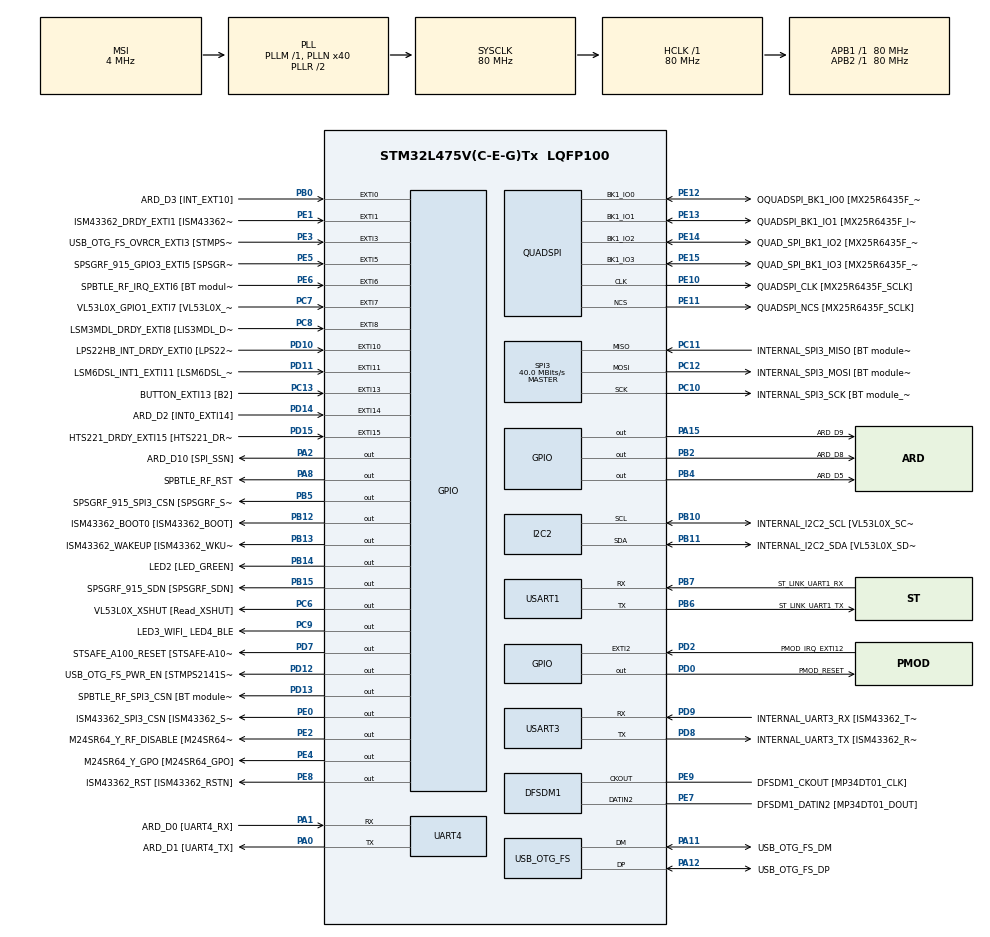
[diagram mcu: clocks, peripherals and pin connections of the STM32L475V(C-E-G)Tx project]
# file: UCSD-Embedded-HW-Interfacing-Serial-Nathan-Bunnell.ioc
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PD12.GPIO_Label=USB_OTG_FS_PWR_EN [STMPS2141STR_EN]
SPI3.Direction=SPI_DIRECTION_2LINES
SPI3.VirtualType=VM_MASTER
QUADSPI.ClockPrescaler=2
PB10.Mode=I2C
PC12.Signal=SPI3_MOSI
PB14.GPIO_Label=LED2 [LED_GREEN]
PC6.GPIO_Label=VL53L0X_XSHUT [Read_XSHUT]
PA6.GPIO_Label=ARD_D12 [SPI1_MISO]
PB6.GPIO_Label=ST_LINK_UART1_TX
PA15\ (JTDI).Signal=GPIO_Output
PC15-OSC32_OUT\ (PC15).Mode=LSE-External-Oscillator
PB13.Signal=GPIO_Output
PD6.GPIO_Label=PMOD_UART2_RX
PE6.GPIO_Label=SPBTLE_RF_IRQ_EXTI6 [BT module_SPI_IRQ]
RCC.SYSCLKSource=RCC_SYSCLKSOURCE_PLLCLK
PC14-OSC32_IN\ (PC14).Mode=LSE-External-Oscillator
SH.ADCx_IN16.0=ADC1_IN16
USART3.VirtualMode-Asynchronous=VM_ASYNC
PA14\ (JTCK-SWCLK).Signal=SYS_JTCK-SWCLK
PD4.Signal=USART2_RTS
RCC.APB2TimFreq_Value=80000000
PB6.Signal=USART1_TX
PC7.Signal=GPXTI7
PB6.Mode=Asynchronous
PC3.Signal=ADCx_IN4
PD0.Signal=GPIO_Output
PD8.Signal=USART3_TX
PE5.Signal=GPXTI5
PE1.Signal=GPXTI1
QUADSPI.FlashSize=23
NVIC.EXTI15_10_IRQn=true\:0\:0\:false\:false\:true\:true\:true
PB2.Signal=GPIO_Output
PD1.GPIO_Label=PMOD_SPI2_SCK
PB12.GPIO_Label=ISM43362_BOOT0 [ISM43362_BOOT]
PC4.GPIO_Label=ARD_A1 [ADC]
PE9.Signal=S_CKOUTDFSDM1
PB1.GPIO_Label=ARD_D6 [ADC1_IN6]
PE4.GPIO_Label=M24SR64_Y_GPO [M24SR64_GPO]
PA0.Mode=Asynchronous
PE2.Signal=GPIO_Output
PA8.Signal=GPIO_Output
PE13.Mode=Single Bank
Dma.UART4_RX.0.PeriphDataAlignment=DMA_PDATAALIGN_BYTE
NVIC.DMA2_Channel3_IRQn=true\:0\:0\:false\:false\:true\:false\:true
PE10.Signal=QUADSPI_CLK
PA0.Signal=UART4_TX
Mcu.Package=LQFP100
PB9.Signal=I2C1_SDA
PB1.Signal=ADCx_IN16
SPI3.Mode=SPI_MODE_MASTER
SH.ADCx_IN14.0=ADC1_IN14
PD12.Signal=GPIO_Output
PA10.Signal=USB_OTG_FS_ID
PE12.GPIO_Label=OQUADSPI_BK1_IO0 [MX25R6435F_IO0]
PC11.Mode=Full_Duplex_Master
SH.ADCx_IN9.0=ADC1_IN9
RCC.APB1TimFreq_Value=80000000
PA13\ (JTMS-SWDIO).Signal=SYS_JTMS-SWDIO
PE10.GPIO_Label=QUADSPI_CLK [MX25R6435F_SCLK]
PA4.GPIO_Label=ARD_D7
PD15.Signal=GPXTI15
NVIC.UART4_IRQn=true\:0\:0\:false\:false\:true\:true\:true
PE12.Mode=Single Bank
Dma.UART4_RX.0.MemInc=DMA_MINC_ENABLE
PD9.GPIO_Label=INTERNAL_UART3_RX [ISM43362_TX]
PA9.GPIO_Label=USB_OTG_FS_VBUS [STMPS2141STR_OUT]
PC13.Signal=GPXTI13
Dma.UART4_RX.0.Mode=DMA_NORMAL
PD3.Signal=USART2_CTS
PC6.Signal=GPIO_Output
PE10.Mode=Single Bank
PC2.Signal=ADCx_IN3
PB11.GPIO_Label=INTERNAL_I2C2_SDA [VL53L0X_SDA]
PD7.Signal=GPIO_Output
PD1.Signal=SPI2_SCK
PA11.GPIO_Label=USB_OTG_FS_DM
PC0.Signal=ADCx_IN1
PD10.Signal=GPXTI10
PB8.GPIO_Label=ARD_D15 [I2C1_SCL]
PA8.GPIO_Label=SPBTLE_RF_RST
PB11.Mode=I2C
Dma.UART4_TX.1.Instance=DMA2_Channel3
PE8.GPIO_Label=ISM43362_RST [ISM43362_RSTN]
PA9.Signal=USB_OTG_FS_VBUS
Dma.UART4_RX.0.PeriphInc=DMA_PINC_DISABLE
PE9.GPIO_Label=DFSDM1_CKOUT [MP34DT01_CLK]
PD8.Mode=Asynchronous
PB10.Signal=I2C2_SCL
PB14.Signal=GPIO_Output
PA5.Signal=SPI1_SCK
PC12.Mode=Full_Duplex_Master
PE1.GPIO_Label=ISM43362_DRDY_EXTI1 [ISM43362_DATARDY]
PA1.Mode=Asynchronous
PE14.Signal=QUADSPI_BK1_IO2
PE15.Signal=QUADSPI_BK1_IO3
PB15.GPIO_Label=SPSGRF_915_SDN [SPSGRF_SDN]
PE8.Signal=GPIO_Output
PA1.GPIO_Label=ARD_D0 [UART4_RX]
SH.ADCx_IN4.0=ADC1_IN4
QUADSPI.FifoThreshold=4
PC7.GPIO_Label=VL53L0X_GPIO1_EXTI7 [VL53L0X_GPIO1]
PA13\ (JTMS-SWDIO).Mode=Serial_Wire
PA4.Signal=ADCx_IN9
PB5.Signal=GPIO_Output
PE13.GPIO_Label=QUADSPI_BK1_IO1 [MX25R6435F_IO1]
PA5.GPIO_Label=ARD_D13 [SPI1_SCK]
PD11.Signal=GPXTI11
PE5.GPIO_Label=SPSGRF_915_GPIO3_EXTI5 [SPSGRF_GPIO_3]
PC12.GPIO_Label=INTERNAL_SPI3_MOSI [BT module_SPI_MOSI] [ISM43362_MOSI]
PA11.Signal=USB_OTG_FS_DM
ProjectManager.HeapSize=0x200
NVIC.PriorityGroup=NVIC_PRIORITYGROUP_4
Dma.UART4_RX.0.Instance=DMA2_Channel5
Dma.UART4_TX.1.MemDataAlignment=DMA_MDATAALIGN_BYTE
PE3.Signal=GPXTI3
PC3.GPIO_Label=ARD_A2 [ADC]
PB4\ (NJTRST).GPIO_Label=ARD_D5
PD2.Signal=GPXTI2
PB0.Signal=GPXTI0
PC1.Signal=ADCx_IN2
PD2.GPIO_Label=PMOD_IRQ_EXTI12
PE15.Mode=Single Bank
Dma.UART4_TX.1.Direction=DMA_MEMORY_TO_PERIPH
Mcu.Family=STM32L4
Dma.UART4_TX.1.PeriphDataAlignment=DMA_PDATAALIGN_BYTE
RCC.CortexFreq_Value=80000000
PE11.GPIO_Label=QUADSPI_NCS [MX25R6435F_SCLK]
SH.ADCx_IN2.0=ADC1_IN2
PC10.Signal=SPI3_SCK
I2C2.Timing=0x10909CEC
PA0.GPIO_Label=ARD_D1 [UART4_TX]
PC0.GPIO_Label=ARD_A5 [ADC]
PD0.GPIO_Label=PMOD_RESET
PA11.Mode=Device_Only
PB0.GPIO_Label=ARD_D3 [INT_EXT10]
PC13.GPIO_Label=BUTTON_EXTI13 [B2]
PB13.GPIO_Label=ISM43362_WAKEUP [ISM43362_WKUP]
PB11.Signal=I2C2_SDA
PB15.Signal=GPIO_Output
PD9.Mode=Asynchronous
ProjectManager.StackSize=0x400
PB3\ (JTDO-TRACESWO).Signal=SYS_JTDO-SWO
PD13.Signal=GPIO_Output
PA12.Signal=USB_OTG_FS_DP
PE11.Mode=Single Bank
PD11.GPIO_Label=LSM6DSL_INT1_EXTI11 [LSM6DSL_INT1]
RCC.HCLKFreq_Value=80000000
SH.ADCx_IN3.0=ADC1_IN3
PB5.PinState=GPIO_PIN_SET
RCC.AHBFreq_Value=80000000
NVIC.DMA2_Channel5_IRQn=true\:0\:0\:false\:false\:true\:false\:true
RCC.HSE_VALUE=8000000
Dma.UART4_TX.1.Mode=DMA_NORMAL
Dma.UART4_RX.0.MemDataAlignment=DMA_MDATAALIGN_BYTE
PE13.Signal=QUADSPI_BK1_IO1
PC11.GPIO_Label=INTERNAL_SPI3_MISO [BT module_SPI_MISO] [ISM43362_MISO]
PA10.GPIO_Label=USB_OTG_FS_ID
PB7.Signal=USART1_RX
PE4.Signal=GPIO_Output
QUADSPI.SampleShifting=QSPI_SAMPLE_SHIFTING_HALFCYCLE
PD7.GPIO_Label=STSAFE_A100_RESET [STSAFE-A100_RESET]
PB7.GPIO_Label=ST_LINK_UART1_RX
PD13.GPIO_Label=SPBTLE_RF_SPI3_CSN [BT module_SPI_CS]
PA6.Signal=SPI1_MISO
PD5.GPIO_Label=PMOD_UART2_TX
Dma.UART4_TX.1.MemInc=DMA_MINC_ENABLE
PA2.GPIO_Label=ARD_D10 [SPI_SSN]
Dma.UART4_TX.1.PeriphInc=DMA_PINC_DISABLE
USB_OTG_FS.VirtualMode=Device_Only
PE0.GPIO_Label=ISM43362_SPI3_CSN [ISM43362_SSN]
SH.ADCx_IN1.0=ADC1_IN1
PB5.GPIO_Label=SPSGRF_915_SPI3_CSN [SPSGRF_SPI_CS]
Dma.Request1=UART4_TX
PC5.Signal=ADCx_IN14
PD3.GPIO_Label=PMOD_UART2_CTS
PE7.Signal=S_DATAIN2DFSDM1
PD6.Signal=USART2_RX
Dma.Request0=UART4_RX
PE2.GPIO_Label=M24SR64_Y_RF_DISABLE [M24SR64_RFDIS]
PC2.GPIO_Label=ARD_A3 [ADC]
RCC.PLLSAI1N=24
PA3.Signal=S_TIM2_CH4
RCC.MSI_VALUE=4000000
PA14\ (JTCK-SWCLK).Mode=Serial_Wire
SH.ADCx_IN13.0=ADC1_IN13
PD15.GPIO_Label=HTS221_DRDY_EXTI15 [HTS221_DRDY]
PB9.GPIO_Label=ARD_D14 [I2C1_SDA]
PC10.GPIO_Label=INTERNAL_SPI3_SCK [BT module_SPI_SCLK] [ISM43362_SCK]
PC9.GPIO_Label=LED3_WIFI_ LED4_BLE
PC11.Signal=SPI3_MISO
PC8.Signal=GPXTI8
PC4.Signal=ADCx_IN13
PC10.Mode=Full_Duplex_Master
SH.S_DATAIN2DFSDM1.0=DFSDM1_DATIN2,PDM_SPI_Input_from_ch12_and_Internal_Clock
PE14.GPIO_Label=QUAD_SPI_BK1_IO2 [MX25R6435F_IO2]
PC15-OSC32_OUT\ (PC15).Signal=RCC_OSC32_OUT
PD9.Signal=USART3_RX
PD5.Signal=USART2_TX
PA14\ (JTCK-SWCLK).GPIO_Label=SYS_JTCK_SWCLK
PB3\ (JTDO-TRACESWO).GPIO_Label=SYS_JTD0_SWO
PA12.GPIO_Label=USB_OTG_FS_DP
PD8.GPIO_Label=INTERNAL_UART3_TX [ISM43362_RX]
PC8.GPIO_Label=LSM3MDL_DRDY_EXTI8 [LIS3MDL_DRDY]
USART1.VirtualMode-Asynchronous=VM_ASYNC
PE0.PinState=GPIO_PIN_SET
PE15.GPIO_Label=QUAD_SPI_BK1_IO3 [MX25R6435F_IO3]
Dma.UART4_RX.0.Direction=DMA_PERIPH_TO_MEMORY
ProjectManager.TargetToolchain=STM32CubeIDE
PB10.GPIO_Label=INTERNAL_I2C2_SCL [VL53L0X_SCL]
RCC.USBFreq_Value=48000000
PD10.GPIO_Label=LPS22HB_INT_DRDY_EXTI0 [LPS22HB_INT_DRDY] 
PE11.Signal=QUADSPI_NCS
PA1.Signal=UART4_RX
board=B-L475E-IOT01A1
RCC.VCOOutputFreq_Value=160000000
Dma.UART4_RX.0.Priority=DMA_PRIORITY_LOW
RCC.APB2Freq_Value=80000000
SPI3.CalculateBaudRate=40.0 MBits/s
PA13\ (JTMS-SWDIO).GPIO_Label=SYS_JTMS_SWDIO
PD4.GPIO_Label=PMOD_UART2_RTS
PE14.Mode=Single Bank
SH.S_CKOUTDFSDM1.0=DFSDM1_CKOUT,CKOUT
SH.S_CKOUTDFSDM1.1=DFSDM1_CKOUT,PDM_SPI_Input_from_ch12_and_Internal_Clock
RCC.ADCFreq_Value=48000000
PC1.GPIO_Label=ARD_A4 [ADC]
PD14.GPIO_Label=ARD_D2 [INT0_EXTI14]
PE6.Signal=GPXTI6
PA15\ (JTDI).GPIO_Label=ARD_D9
Mcu.Name=STM32L475V(C-E-G)Tx
PE0.Signal=GPIO_Output
PE7.GPIO_Label=DFSDM1_DATIN2 [MP34DT01_DOUT]
PE12.Signal=QUADSPI_BK1_IO0
PA2.Signal=GPIO_Output
PD14.Signal=GPXTI14
RCC.SYSCLKFreq_VALUE=80000000
PA7.GPIO_Label=ARD_D11 [SPI1_MOSI]
PA12.Mode=Device_Only
PC13.GPIO_ModeDefaultEXTI=GPIO_MODE_IT_FALLING
PC5.GPIO_Label=ARD_A0 [ADC]
PC14-OSC32_IN\ (PC14).Signal=RCC_OSC32_IN
PB7.Mode=Asynchronous
NVIC.EXTI9_5_IRQn=true\:0\:0\:false\:false\:true\:true\:true
PB2.GPIO_Label=ARD_D8
Dma.UART4_TX.1.Priority=DMA_PRIORITY_LOW
SH.S_TIM2_CH4.0=TIM2_CH4
RCC.HSI_VALUE=16000000
RCC.PLLN=40
PB8.Signal=I2C1_SCL
PE3.GPIO_Label=USB_OTG_FS_OVRCR_EXTI3 [STMPS2141STR_FAULT]
PC9.Signal=GPIO_Output
PD13.PinState=GPIO_PIN_SET
RCC.APB1Freq_Value=80000000
PB12.Signal=GPIO_Output
PA3.GPIO_Label=ARD_D4
PA7.Signal=SPI1_MOSI
PB4\ (NJTRST).Signal=GPIO_Output

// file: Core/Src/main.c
/* USER CODE BEGIN Header */
/**
  ******************************************************************************
  * @file           : main.c
  * @brief          : Main program body
  ******************************************************************************
  * @attention
  *
  * <h2><center>&copy; Copyright (c) 2021 STMicroelectronics.
  * All rights reserved.</center></h2>
  *
  * This software component is licensed by ST under BSD 3-Clause license,
  * the "License"; You may not use this file except in compliance with the
  * License. You may obtain a copy of the License at:
  *                        opensource.org/licenses/BSD-3-Clause
  *
  ******************************************************************************
  */
/* USER CODE END Header */
#include "main.h"

/* USER CODE BEGIN Includes */

#include <stdio.h>
#include <string.h>

/* USER CODE END Includes */

DFSDM_Channel_HandleTypeDef hdfsdm1_channel1;

I2C_HandleTypeDef hi2c2;

QSPI_HandleTypeDef hqspi;

SPI_HandleTypeDef hspi3;

UART_HandleTypeDef huart4;
UART_HandleTypeDef huart1;
UART_HandleTypeDef huart3;
DMA_HandleTypeDef hdma_uart4_rx;
DMA_HandleTypeDef hdma_uart4_tx;

PCD_HandleTypeDef hpcd_USB_OTG_FS;

void SystemClock_Config(void);
static void MX_GPIO_Init(void);
static void MX_DMA_Init(void);
static void MX_DFSDM1_Init(void);
static void MX_I2C2_Init(void);
static void MX_QUADSPI_Init(void);
static void MX_SPI3_Init(void);
static void MX_USART1_UART_Init(void);
static void MX_USART3_UART_Init(void);
static void MX_USB_OTG_FS_PCD_Init(void);
static void MX_UART4_Init(void);
/* USER CODE BEGIN PFP */

static void do_polling(void);
static void do_interrupt(void);
static void do_dma(void);

/* USER CODE END PFP */

/* USER CODE BEGIN 0 */

// Define data buffers and pad with known values
static char txBuffer[] = "abcdefghigjklmnopqrstuvwxyz\r\n";
static char rxBuffer[] = "abcdefghigjklmnopqrstuvwxyz\r\n";

// Define an interrupt-complete flag
static int do_interrupt_done = 0;

static void do_polling(void)
{
	// Get pointers to data buffers
	char* txBuffPtr = txBuffer;
	char* rxBuffPtr = rxBuffer;

	// Fill RX data buffer with known value ('?')
	for (int i = 0; i < sizeof(rxBuffer); i++)
	{
		rxBuffer[i] = '?';
	}

	// Do-loop with body of functional code
	do
	{
		// Pipe out a heartbeat indicator ('.')
		char ch = '.';
		HAL_UART_Transmit(&huart1, (uint8_t*) &ch, 1, 100);

		// Transceive a character from the data buffers
		//
		// WARNING: This functionality is predicated on
		// UART4 being hard-wired into loopback mode!
		HAL_UART_Transmit(&huart4, (uint8_t*) txBuffPtr, 1, 100);
		HAL_UART_Receive(&huart4, (uint8_t*) rxBuffPtr, 1, 100);

		// Error check comparison of buffer values
		if (*txBuffPtr != *rxBuffPtr)
		{
			char errorBuffer[100];
			snprintf(errorBuffer, sizeof(errorBuffer), "\r\nError: 0x%02x != 0x%02x\r\n", *txBuffPtr, *rxBuffPtr);
			HAL_UART_Transmit(&huart1, (uint8_t*) errorBuffer, sizeof(errorBuffer), 100);
		}

		// Increment pointers to both data buffers
		*txBuffPtr++;
		*rxBuffPtr++;

		HAL_Delay(100);

	// Maintain loop through length of transmit data buffer
	} while (txBuffPtr < (txBuffer + sizeof(txBuffer)));
}

// Define our interrupt-driven callback functions
void HAL_UART_TxCpltCallback(UART_HandleTypeDef *huart)
{
	// Print out a char to indicate we reached this point ('T')
	char ch = 'T';
	HAL_UART_Transmit(&huart1, (uint8_t *) &ch, 1, 100);
}

void HAL_UART_RxCpltCallback(UART_HandleTypeDef *huart)
{
	// Print out a char to indicate we reached this point ('R')
	char ch = 'R';
	HAL_UART_Transmit(&huart1, (uint8_t *) &ch, 1, 100);

	// Send out the contents of the RX data buffer to UART1
	HAL_UART_Transmit(&huart1, (uint8_t *) rxBuffer, sizeof(rxBuffer), 100);

	// Set our complete flag
	do_interrupt_done = 1;
}

static void do_interrupt(void)
{
	// Fill RX data buffer with known value ('?')
	for (int i = 0; i < sizeof(rxBuffer); i++)
	{
		rxBuffer[i] = '?';
	}

	// Pipe out a heartbeat indicator ('.')
	char ch = '.';
	HAL_UART_Transmit(&huart1, (uint8_t*) &ch, 1, 100);

	// Clear the complete flag
	do_interrupt_done = 0;

	// Using the IT-specific function calls, transceive data from the TX buffer
	HAL_UART_Receive_IT(&huart4, (uint8_t*) rxBuffer, sizeof(rxBuffer));
	HAL_UART_Transmit_IT(&huart4, (uint8_t*) txBuffer, sizeof(txBuffer));

	// Indicate on UART1 that the IT functions are in progress
	while (!do_interrupt_done)
	{
		char ch = '~';
		HAL_UART_Transmit(&huart1, (uint8_t *) &ch, 1, 100);
		HAL_Delay(100);
	}

}

static void do_dma(void)
{
	// Fill RX data buffer with known value ('?')
	for (int i = 0; i < sizeof(rxBuffer); i++)
	{
		rxBuffer[i] = '?';
	}

	// Pipe out a heartbeat indicator ('.')
	char ch = '.';
	HAL_UART_Transmit(&huart1, (uint8_t*) &ch, 1, 100);

	// Clear the complete flag
	do_interrupt_done = 0;

	// Using the DMA-specific function calls, transceive data from the TX buffer
	HAL_UART_Receive_DMA(&huart4, (uint8_t*) rxBuffer, sizeof(rxBuffer));
	HAL_UART_Transmit_DMA(&huart4, (uint8_t*) txBuffer, sizeof(txBuffer));

	// Indicate on UART1 that the DMA functions are in progress
	while (!do_interrupt_done)
	{
		char ch = '~';
		HAL_UART_Transmit(&huart1, (uint8_t *) &ch, 1, 100);
		HAL_Delay(100);
	}
}

/* USER CODE END 0 */

int main(void)
{

  /* MCU Configuration--------------------------------------------------------*/

  /* Reset of all peripherals, Initializes the Flash interface and the Systick. */
  HAL_Init();

  /* Configure the system clock */
  SystemClock_Config();

  /* Initialize all configured peripherals */
  MX_GPIO_Init();
  MX_DMA_Init();
  MX_DFSDM1_Init();
  MX_I2C2_Init();
  MX_QUADSPI_Init();
  MX_SPI3_Init();
  MX_USART1_UART_Init();
  MX_USART3_UART_Init();
  MX_USB_OTG_FS_PCD_Init();
  MX_UART4_Init();
  /* USER CODE BEGIN 2 */

  // Header info for CLI
  char* cliHeader = "\r\nsimpleCLI Interface v0.1\r\n";
  HAL_UART_Transmit(&huart1, (uint8_t*) cliHeader, strlen(cliHeader), 1000);

  /* USER CODE END 2 */

  /* Infinite loop */
  while (1)
  {

    /* USER CODE BEGIN 3 */

	   /************************************
	    * User Story 1 implementation begin:
	    *
	    * 	Define a simple CLI with options
	    * 	for polling, interrupt, or DMA
	    * 	driven data Tx/Rx
	    *
	    ***********************************/

	  // Define strings to structure prompt around
	  char* cliPrompt = "Options:\r\n\t1: polling mode\r\n\t2: interrupt mode\r\n\t3: DMA mode\r\n$> ";
	  char* cliResponse = "Invalid input!\r\n";

	  // Issue prompt
	  HAL_UART_Transmit(&huart1, (uint8_t*) cliPrompt, strlen(cliPrompt), 1000);

	  // Get the user selection
	  char cliInput;
	  HAL_UART_Receive(&huart1, (uint8_t*) &cliInput, 1, HAL_MAX_DELAY);

	  // Evaluate input
	  switch (cliInput)
	  {
	  	  case '1':
	  		  cliResponse = "\r\nPolling mode\r\n";
	  		  do_polling();
	  		  break;

	  	  case '2':
	  		  cliResponse = "\r\nInterrupt mode\r\n";
	  		  do_interrupt();
	  		  break;

	  	  case '3':
	  		  cliResponse = "\r\nDMA mode\r\n";
	  		  do_dma();
	  		  break;

	  	  default:
	  		  break;
	  }

	  // Print response
	  HAL_UART_Transmit(&huart1, (uint8_t*) cliResponse, strlen(cliResponse), 1000);

  }
  /* USER CODE END 3 */
}

void SystemClock_Config(void)
{
  RCC_OscInitTypeDef RCC_OscInitStruct = {0};
  RCC_ClkInitTypeDef RCC_ClkInitStruct = {0};
  RCC_PeriphCLKInitTypeDef PeriphClkInit = {0};

  /** Configure LSE Drive Capability
  */
  HAL_PWR_EnableBkUpAccess();
  __HAL_RCC_LSEDRIVE_CONFIG(RCC_LSEDRIVE_LOW);
  /** Initializes the RCC Oscillators according to the specified parameters
  * in the RCC_OscInitTypeDef structure.
  */
  RCC_OscInitStruct.OscillatorType = RCC_OSCILLATORTYPE_LSE|RCC_OSCILLATORTYPE_MSI;
  RCC_OscInitStruct.LSEState = RCC_LSE_ON;
  RCC_OscInitStruct.MSIState = RCC_MSI_ON;
  RCC_OscInitStruct.MSICalibrationValue = 0;
  RCC_OscInitStruct.MSIClockRange = RCC_MSIRANGE_6;
  RCC_OscInitStruct.PLL.PLLState = RCC_PLL_ON;
  RCC_OscInitStruct.PLL.PLLSource = RCC_PLLSOURCE_MSI;
  RCC_OscInitStruct.PLL.PLLM = 1;
  RCC_OscInitStruct.PLL.PLLN = 40;
  RCC_OscInitStruct.PLL.PLLP = RCC_PLLP_DIV7;
  RCC_OscInitStruct.PLL.PLLQ = RCC_PLLQ_DIV2;
  RCC_OscInitStruct.PLL.PLLR = RCC_PLLR_DIV2;
  if (HAL_RCC_OscConfig(&RCC_OscInitStruct) != HAL_OK)
  {
    Error_Handler();
  }
  /** Initializes the CPU, AHB and APB buses clocks
  */
  RCC_ClkInitStruct.ClockType = RCC_CLOCKTYPE_HCLK|RCC_CLOCKTYPE_SYSCLK
                              |RCC_CLOCKTYPE_PCLK1|RCC_CLOCKTYPE_PCLK2;
  RCC_ClkInitStruct.SYSCLKSource = RCC_SYSCLKSOURCE_PLLCLK;
  RCC_ClkInitStruct.AHBCLKDivider = RCC_SYSCLK_DIV1;
  RCC_ClkInitStruct.APB1CLKDivider = RCC_HCLK_DIV1;
  RCC_ClkInitStruct.APB2CLKDivider = RCC_HCLK_DIV1;

  if (HAL_RCC_ClockConfig(&RCC_ClkInitStruct, FLASH_LATENCY_4) != HAL_OK)
  {
    Error_Handler();
  }
  PeriphClkInit.PeriphClockSelection = RCC_PERIPHCLK_USART1|RCC_PERIPHCLK_USART3
                              |RCC_PERIPHCLK_UART4|RCC_PERIPHCLK_I2C2
                              |RCC_PERIPHCLK_DFSDM1|RCC_PERIPHCLK_USB;
  PeriphClkInit.Usart1ClockSelection = RCC_USART1CLKSOURCE_PCLK2;
  PeriphClkInit.Usart3ClockSelection = RCC_USART3CLKSOURCE_PCLK1;
  PeriphClkInit.Uart4ClockSelection = RCC_UART4CLKSOURCE_PCLK1;
  PeriphClkInit.I2c2ClockSelection = RCC_I2C2CLKSOURCE_PCLK1;
  PeriphClkInit.Dfsdm1ClockSelection = RCC_DFSDM1CLKSOURCE_PCLK;
  PeriphClkInit.UsbClockSelection = RCC_USBCLKSOURCE_PLLSAI1;
  PeriphClkInit.PLLSAI1.PLLSAI1Source = RCC_PLLSOURCE_MSI;
  PeriphClkInit.PLLSAI1.PLLSAI1M = 1;
  PeriphClkInit.PLLSAI1.PLLSAI1N = 24;
  PeriphClkInit.PLLSAI1.PLLSAI1P = RCC_PLLP_DIV7;
  PeriphClkInit.PLLSAI1.PLLSAI1Q = RCC_PLLQ_DIV2;
  PeriphClkInit.PLLSAI1.PLLSAI1R = RCC_PLLR_DIV2;
  PeriphClkInit.PLLSAI1.PLLSAI1ClockOut = RCC_PLLSAI1_48M2CLK;
  if (HAL_RCCEx_PeriphCLKConfig(&PeriphClkInit) != HAL_OK)
  {
    Error_Handler();
  }
  /** Configure the main internal regulator output voltage
  */
  if (HAL_PWREx_ControlVoltageScaling(PWR_REGULATOR_VOLTAGE_SCALE1) != HAL_OK)
  {
    Error_Handler();
  }
  /** Enable MSI Auto calibration
  */
  HAL_RCCEx_EnableMSIPLLMode();
}

static void MX_DFSDM1_Init(void)
{

  hdfsdm1_channel1.Instance = DFSDM1_Channel1;
  hdfsdm1_channel1.Init.OutputClock.Activation = ENABLE;
  hdfsdm1_channel1.Init.OutputClock.Selection = DFSDM_CHANNEL_OUTPUT_CLOCK_SYSTEM;
  hdfsdm1_channel1.Init.OutputClock.Divider = 2;
  hdfsdm1_channel1.Init.Input.Multiplexer = DFSDM_CHANNEL_EXTERNAL_INPUTS;
  hdfsdm1_channel1.Init.Input.DataPacking = DFSDM_CHANNEL_STANDARD_MODE;
  hdfsdm1_channel1.Init.Input.Pins = DFSDM_CHANNEL_FOLLOWING_CHANNEL_PINS;
  hdfsdm1_channel1.Init.SerialInterface.Type = DFSDM_CHANNEL_SPI_RISING;
  hdfsdm1_channel1.Init.SerialInterface.SpiClock = DFSDM_CHANNEL_SPI_CLOCK_INTERNAL;
  hdfsdm1_channel1.Init.Awd.FilterOrder = DFSDM_CHANNEL_FASTSINC_ORDER;
  hdfsdm1_channel1.Init.Awd.Oversampling = 1;
  hdfsdm1_channel1.Init.Offset = 0;
  hdfsdm1_channel1.Init.RightBitShift = 0x00;
  if (HAL_DFSDM_ChannelInit(&hdfsdm1_channel1) != HAL_OK)
  {
    Error_Handler();
  }

}

static void MX_I2C2_Init(void)
{

  hi2c2.Instance = I2C2;
  hi2c2.Init.Timing = 0x10909CEC;
  hi2c2.Init.OwnAddress1 = 0;
  hi2c2.Init.AddressingMode = I2C_ADDRESSINGMODE_7BIT;
  hi2c2.Init.DualAddressMode = I2C_DUALADDRESS_DISABLE;
  hi2c2.Init.OwnAddress2 = 0;
  hi2c2.Init.OwnAddress2Masks = I2C_OA2_NOMASK;
  hi2c2.Init.GeneralCallMode = I2C_GENERALCALL_DISABLE;
  hi2c2.Init.NoStretchMode = I2C_NOSTRETCH_DISABLE;
  if (HAL_I2C_Init(&hi2c2) != HAL_OK)
  {
    Error_Handler();
  }
  /** Configure Analogue filter
  */
  if (HAL_I2CEx_ConfigAnalogFilter(&hi2c2, I2C_ANALOGFILTER_ENABLE) != HAL_OK)
  {
    Error_Handler();
  }
  /** Configure Digital filter
  */
  if (HAL_I2CEx_ConfigDigitalFilter(&hi2c2, 0) != HAL_OK)
  {
    Error_Handler();
  }

}

static void MX_QUADSPI_Init(void)
{

  /* QUADSPI parameter configuration*/
  hqspi.Instance = QUADSPI;
  hqspi.Init.ClockPrescaler = 2;
  hqspi.Init.FifoThreshold = 4;
  hqspi.Init.SampleShifting = QSPI_SAMPLE_SHIFTING_HALFCYCLE;
  hqspi.Init.FlashSize = 23;
  hqspi.Init.ChipSelectHighTime = QSPI_CS_HIGH_TIME_1_CYCLE;
  hqspi.Init.ClockMode = QSPI_CLOCK_MODE_0;
  if (HAL_QSPI_Init(&hqspi) != HAL_OK)
  {
    Error_Handler();
  }

}

static void MX_SPI3_Init(void)
{

  /* SPI3 parameter configuration*/
  hspi3.Instance = SPI3;
  hspi3.Init.Mode = SPI_MODE_MASTER;
  hspi3.Init.Direction = SPI_DIRECTION_2LINES;
  hspi3.Init.DataSize = SPI_DATASIZE_4BIT;
  hspi3.Init.CLKPolarity = SPI_POLARITY_LOW;
  hspi3.Init.CLKPhase = SPI_PHASE_1EDGE;
  hspi3.Init.NSS = SPI_NSS_SOFT;
  hspi3.Init.BaudRatePrescaler = SPI_BAUDRATEPRESCALER_2;
  hspi3.Init.FirstBit = SPI_FIRSTBIT_MSB;
  hspi3.Init.TIMode = SPI_TIMODE_DISABLE;
  hspi3.Init.CRCCalculation = SPI_CRCCALCULATION_DISABLE;
  hspi3.Init.CRCPolynomial = 7;
  hspi3.Init.CRCLength = SPI_CRC_LENGTH_DATASIZE;
  hspi3.Init.NSSPMode = SPI_NSS_PULSE_ENABLE;
  if (HAL_SPI_Init(&hspi3) != HAL_OK)
  {
    Error_Handler();
  }

}

static void MX_UART4_Init(void)
{

  huart4.Instance = UART4;
  huart4.Init.BaudRate = 115200;
  huart4.Init.WordLength = UART_WORDLENGTH_8B;
  huart4.Init.StopBits = UART_STOPBITS_1;
  huart4.Init.Parity = UART_PARITY_NONE;
  huart4.Init.Mode = UART_MODE_TX_RX;
  huart4.Init.HwFlowCtl = UART_HWCONTROL_NONE;
  huart4.Init.OverSampling = UART_OVERSAMPLING_16;
  huart4.Init.OneBitSampling = UART_ONE_BIT_SAMPLE_DISABLE;
  huart4.AdvancedInit.AdvFeatureInit = UART_ADVFEATURE_NO_INIT;
  if (HAL_UART_Init(&huart4) != HAL_OK)
  {
    Error_Handler();
  }

}

static void MX_USART1_UART_Init(void)
{

  huart1.Instance = USART1;
  huart1.Init.BaudRate = 115200;
  huart1.Init.WordLength = UART_WORDLENGTH_8B;
  huart1.Init.StopBits = UART_STOPBITS_1;
  huart1.Init.Parity = UART_PARITY_NONE;
  huart1.Init.Mode = UART_MODE_TX_RX;
  huart1.Init.HwFlowCtl = UART_HWCONTROL_NONE;
  huart1.Init.OverSampling = UART_OVERSAMPLING_16;
  huart1.Init.OneBitSampling = UART_ONE_BIT_SAMPLE_DISABLE;
  huart1.AdvancedInit.AdvFeatureInit = UART_ADVFEATURE_NO_INIT;
  if (HAL_UART_Init(&huart1) != HAL_OK)
  {
    Error_Handler();
  }

}

static void MX_USART3_UART_Init(void)
{

  huart3.Instance = USART3;
  huart3.Init.BaudRate = 115200;
  huart3.Init.WordLength = UART_WORDLENGTH_8B;
  huart3.Init.StopBits = UART_STOPBITS_1;
  huart3.Init.Parity = UART_PARITY_NONE;
  huart3.Init.Mode = UART_MODE_TX_RX;
  huart3.Init.HwFlowCtl = UART_HWCONTROL_NONE;
  huart3.Init.OverSampling = UART_OVERSAMPLING_16;
  huart3.Init.OneBitSampling = UART_ONE_BIT_SAMPLE_DISABLE;
  huart3.AdvancedInit.AdvFeatureInit = UART_ADVFEATURE_NO_INIT;
  if (HAL_UART_Init(&huart3) != HAL_OK)
  {
    Error_Handler();
  }

}

static void MX_USB_OTG_FS_PCD_Init(void)
{

  hpcd_USB_OTG_FS.Instance = USB_OTG_FS;
  hpcd_USB_OTG_FS.Init.dev_endpoints = 6;
  hpcd_USB_OTG_FS.Init.speed = PCD_SPEED_FULL;
  hpcd_USB_OTG_FS.Init.phy_itface = PCD_PHY_EMBEDDED;
  hpcd_USB_OTG_FS.Init.Sof_enable = DISABLE;
  hpcd_USB_OTG_FS.Init.low_power_enable = DISABLE;
  hpcd_USB_OTG_FS.Init.lpm_enable = DISABLE;
  hpcd_USB_OTG_FS.Init.battery_charging_enable = DISABLE;
  hpcd_USB_OTG_FS.Init.use_dedicated_ep1 = DISABLE;
  hpcd_USB_OTG_FS.Init.vbus_sensing_enable = DISABLE;
  if (HAL_PCD_Init(&hpcd_USB_OTG_FS) != HAL_OK)
  {
    Error_Handler();
  }

}

static void MX_DMA_Init(void)
{

  /* DMA controller clock enable */
  __HAL_RCC_DMA2_CLK_ENABLE();

  /* DMA interrupt init */
  /* DMA2_Channel3_IRQn interrupt configuration */
  HAL_NVIC_SetPriority(DMA2_Channel3_IRQn, 0, 0);
  HAL_NVIC_EnableIRQ(DMA2_Channel3_IRQn);
  /* DMA2_Channel5_IRQn interrupt configuration */
  HAL_NVIC_SetPriority(DMA2_Channel5_IRQn, 0, 0);
  HAL_NVIC_EnableIRQ(DMA2_Channel5_IRQn);

}

static void MX_GPIO_Init(void)
{
  GPIO_InitTypeDef GPIO_InitStruct = {0};

  /* GPIO Ports Clock Enable */
  __HAL_RCC_GPIOE_CLK_ENABLE();
  __HAL_RCC_GPIOC_CLK_ENABLE();
  __HAL_RCC_GPIOA_CLK_ENABLE();
  __HAL_RCC_GPIOB_CLK_ENABLE();
  __HAL_RCC_GPIOD_CLK_ENABLE();

  /*Configure GPIO pin Output Level */
  HAL_GPIO_WritePin(GPIOE, M24SR64_Y_RF_DISABLE_Pin|M24SR64_Y_GPO_Pin|ISM43362_RST_Pin, GPIO_PIN_RESET);

  /*Configure GPIO pin Output Level */
  HAL_GPIO_WritePin(GPIOA, ARD_D10_Pin|SPBTLE_RF_RST_Pin|ARD_D9_Pin, GPIO_PIN_RESET);

  /*Configure GPIO pin Output Level */
  HAL_GPIO_WritePin(GPIOB, ARD_D8_Pin|ISM43362_BOOT0_Pin|ISM43362_WAKEUP_Pin|LED2_Pin
                          |SPSGRF_915_SDN_Pin|ARD_D5_Pin, GPIO_PIN_RESET);

  /*Configure GPIO pin Output Level */
  HAL_GPIO_WritePin(GPIOD, USB_OTG_FS_PWR_EN_Pin|PMOD_RESET_Pin|STSAFE_A100_RESET_Pin, GPIO_PIN_RESET);

  /*Configure GPIO pin Output Level */
  HAL_GPIO_WritePin(SPBTLE_RF_SPI3_CSN_GPIO_Port, SPBTLE_RF_SPI3_CSN_Pin, GPIO_PIN_SET);

  /*Configure GPIO pin Output Level */
  HAL_GPIO_WritePin(GPIOC, VL53L0X_XSHUT_Pin|LED3_WIFI__LED4_BLE_Pin, GPIO_PIN_RESET);

  /*Configure GPIO pin Output Level */
  HAL_GPIO_WritePin(SPSGRF_915_SPI3_CSN_GPIO_Port, SPSGRF_915_SPI3_CSN_Pin, GPIO_PIN_SET);

  /*Configure GPIO pin Output Level */
  HAL_GPIO_WritePin(ISM43362_SPI3_CSN_GPIO_Port, ISM43362_SPI3_CSN_Pin, GPIO_PIN_SET);

  /*Configure GPIO pins : M24SR64_Y_RF_DISABLE_Pin M24SR64_Y_GPO_Pin ISM43362_RST_Pin ISM43362_SPI3_CSN_Pin */
  GPIO_InitStruct.Pin = M24SR64_Y_RF_DISABLE_Pin|M24SR64_Y_GPO_Pin|ISM43362_RST_Pin|ISM43362_SPI3_CSN_Pin;
  GPIO_InitStruct.Mode = GPIO_MODE_OUTPUT_PP;
  GPIO_InitStruct.Pull = GPIO_NOPULL;
  GPIO_InitStruct.Speed = GPIO_SPEED_FREQ_LOW;
  HAL_GPIO_Init(GPIOE, &GPIO_InitStruct);

  /*Configure GPIO pins : USB_OTG_FS_OVRCR_EXTI3_Pin SPSGRF_915_GPIO3_EXTI5_Pin SPBTLE_RF_IRQ_EXTI6_Pin ISM43362_DRDY_EXTI1_Pin */
  GPIO_InitStruct.Pin = USB_OTG_FS_OVRCR_EXTI3_Pin|SPSGRF_915_GPIO3_EXTI5_Pin|SPBTLE_RF_IRQ_EXTI6_Pin|ISM43362_DRDY_EXTI1_Pin;
  GPIO_InitStruct.Mode = GPIO_MODE_IT_RISING;
  GPIO_InitStruct.Pull = GPIO_NOPULL;
  HAL_GPIO_Init(GPIOE, &GPIO_InitStruct);

  /*Configure GPIO pin : BUTTON_EXTI13_Pin */
  GPIO_InitStruct.Pin = BUTTON_EXTI13_Pin;
  GPIO_InitStruct.Mode = GPIO_MODE_IT_FALLING;
  GPIO_InitStruct.Pull = GPIO_NOPULL;
  HAL_GPIO_Init(BUTTON_EXTI13_GPIO_Port, &GPIO_InitStruct);

  /*Configure GPIO pins : ARD_A5_Pin ARD_A4_Pin ARD_A3_Pin ARD_A2_Pin
                           ARD_A1_Pin ARD_A0_Pin */
  GPIO_InitStruct.Pin = ARD_A5_Pin|ARD_A4_Pin|ARD_A3_Pin|ARD_A2_Pin
                          |ARD_A1_Pin|ARD_A0_Pin;
  GPIO_InitStruct.Mode = GPIO_MODE_ANALOG_ADC_CONTROL;
  GPIO_InitStruct.Pull = GPIO_NOPULL;
  HAL_GPIO_Init(GPIOC, &GPIO_InitStruct);

  /*Configure GPIO pins : ARD_D10_Pin SPBTLE_RF_RST_Pin ARD_D9_Pin */
  GPIO_InitStruct.Pin = ARD_D10_Pin|SPBTLE_RF_RST_Pin|ARD_D9_Pin;
  GPIO_InitStruct.Mode = GPIO_MODE_OUTPUT_PP;
  GPIO_InitStruct.Pull = GPIO_NOPULL;
  GPIO_InitStruct.Speed = GPIO_SPEED_FREQ_LOW;
  HAL_GPIO_Init(GPIOA, &GPIO_InitStruct);

  /*Configure GPIO pin : ARD_D4_Pin */
  GPIO_InitStruct.Pin = ARD_D4_Pin;
  GPIO_InitStruct.Mode = GPIO_MODE_AF_PP;
  GPIO_InitStruct.Pull = GPIO_NOPULL;
  GPIO_InitStruct.Speed = GPIO_SPEED_FREQ_LOW;
  GPIO_InitStruct.Alternate = GPIO_AF1_TIM2;
  HAL_GPIO_Init(ARD_D4_GPIO_Port, &GPIO_InitStruct);

  /*Configure GPIO pin : ARD_D7_Pin */
  GPIO_InitStruct.Pin = ARD_D7_Pin;
  GPIO_InitStruct.Mode = GPIO_MODE_ANALOG_ADC_CONTROL;
  GPIO_InitStruct.Pull = GPIO_NOPULL;
  HAL_GPIO_Init(ARD_D7_GPIO_Port, &GPIO_InitStruct);

  /*Configure GPIO pins : ARD_D13_Pin ARD_D12_Pin ARD_D11_Pin */
  GPIO_InitStruct.Pin = ARD_D13_Pin|ARD_D12_Pin|ARD_D11_Pin;
  GPIO_InitStruct.Mode = GPIO_MODE_AF_PP;
  GPIO_InitStruct.Pull = GPIO_NOPULL;
  GPIO_InitStruct.Speed = GPIO_SPEED_FREQ_VERY_HIGH;
  GPIO_InitStruct.Alternate = GPIO_AF5_SPI1;
  HAL_GPIO_Init(GPIOA, &GPIO_InitStruct);

  /*Configure GPIO pin : ARD_D3_Pin */
  GPIO_InitStruct.Pin = ARD_D3_Pin;
  GPIO_InitStruct.Mode = GPIO_MODE_IT_RISING;
  GPIO_InitStruct.Pull = GPIO_NOPULL;
  HAL_GPIO_Init(ARD_D3_GPIO_Port, &GPIO_InitStruct);

  /*Configure GPIO pin : ARD_D6_Pin */
  GPIO_InitStruct.Pin = ARD_D6_Pin;
  GPIO_InitStruct.Mode = GPIO_MODE_ANALOG_ADC_CONTROL;
  GPIO_InitStruct.Pull = GPIO_NOPULL;
  HAL_GPIO_Init(ARD_D6_GPIO_Port, &GPIO_InitStruct);

  /*Configure GPIO pins : ARD_D8_Pin ISM43362_BOOT0_Pin ISM43362_WAKEUP_Pin LED2_Pin
                           SPSGRF_915_SDN_Pin ARD_D5_Pin SPSGRF_915_SPI3_CSN_Pin */
  GPIO_InitStruct.Pin = ARD_D8_Pin|ISM43362_BOOT0_Pin|ISM43362_WAKEUP_Pin|LED2_Pin
                          |SPSGRF_915_SDN_Pin|ARD_D5_Pin|SPSGRF_915_SPI3_CSN_Pin;
  GPIO_InitStruct.Mode = GPIO_MODE_OUTPUT_PP;
  GPIO_InitStruct.Pull = GPIO_NOPULL;
  GPIO_InitStruct.Speed = GPIO_SPEED_FREQ_LOW;
  HAL_GPIO_Init(GPIOB, &GPIO_InitStruct);

  /*Configure GPIO pins : LPS22HB_INT_DRDY_EXTI0_Pin LSM6DSL_INT1_EXTI11_Pin ARD_D2_Pin HTS221_DRDY_EXTI15_Pin
                           PMOD_IRQ_EXTI12_Pin */
  GPIO_InitStruct.Pin = LPS22HB_INT_DRDY_EXTI0_Pin|LSM6DSL_INT1_EXTI11_Pin|ARD_D2_Pin|HTS221_DRDY_EXTI15_Pin
                          |PMOD_IRQ_EXTI12_Pin;
  GPIO_InitStruct.Mode = GPIO_MODE_IT_RISING;
  GPIO_InitStruct.Pull = GPIO_NOPULL;
  HAL_GPIO_Init(GPIOD, &GPIO_InitStruct);

  /*Configure GPIO pins : USB_OTG_FS_PWR_EN_Pin SPBTLE_RF_SPI3_CSN_Pin PMOD_RESET_Pin STSAFE_A100_RESET_Pin */
  GPIO_InitStruct.Pin = USB_OTG_FS_PWR_EN_Pin|SPBTLE_RF_SPI3_CSN_Pin|PMOD_RESET_Pin|STSAFE_A100_RESET_Pin;
  GPIO_InitStruct.Mode = GPIO_MODE_OUTPUT_PP;
  GPIO_InitStruct.Pull = GPIO_NOPULL;
  GPIO_InitStruct.Speed = GPIO_SPEED_FREQ_LOW;
  HAL_GPIO_Init(GPIOD, &GPIO_InitStruct);

  /*Configure GPIO pins : VL53L0X_XSHUT_Pin LED3_WIFI__LED4_BLE_Pin */
  GPIO_InitStruct.Pin = VL53L0X_XSHUT_Pin|LED3_WIFI__LED4_BLE_Pin;
  GPIO_InitStruct.Mode = GPIO_MODE_OUTPUT_PP;
  GPIO_InitStruct.Pull = GPIO_NOPULL;
  GPIO_InitStruct.Speed = GPIO_SPEED_FREQ_LOW;
  HAL_GPIO_Init(GPIOC, &GPIO_InitStruct);

  /*Configure GPIO pins : VL53L0X_GPIO1_EXTI7_Pin LSM3MDL_DRDY_EXTI8_Pin */
  GPIO_InitStruct.Pin = VL53L0X_GPIO1_EXTI7_Pin|LSM3MDL_DRDY_EXTI8_Pin;
  GPIO_InitStruct.Mode = GPIO_MODE_IT_RISING;
  GPIO_InitStruct.Pull = GPIO_NOPULL;
  HAL_GPIO_Init(GPIOC, &GPIO_InitStruct);

  /*Configure GPIO pin : PMOD_SPI2_SCK_Pin */
  GPIO_InitStruct.Pin = PMOD_SPI2_SCK_Pin;
  GPIO_InitStruct.Mode = GPIO_MODE_AF_PP;
  GPIO_InitStruct.Pull = GPIO_NOPULL;
  GPIO_InitStruct.Speed = GPIO_SPEED_FREQ_VERY_HIGH;
  GPIO_InitStruct.Alternate = GPIO_AF5_SPI2;
  HAL_GPIO_Init(PMOD_SPI2_SCK_GPIO_Port, &GPIO_InitStruct);

  /*Configure GPIO pins : PMOD_UART2_CTS_Pin PMOD_UART2_RTS_Pin PMOD_UART2_TX_Pin PMOD_UART2_RX_Pin */
  GPIO_InitStruct.Pin = PMOD_UART2_CTS_Pin|PMOD_UART2_RTS_Pin|PMOD_UART2_TX_Pin|PMOD_UART2_RX_Pin;
  GPIO_InitStruct.Mode = GPIO_MODE_AF_PP;
  GPIO_InitStruct.Pull = GPIO_NOPULL;
  GPIO_InitStruct.Speed = GPIO_SPEED_FREQ_VERY_HIGH;
  GPIO_InitStruct.Alternate = GPIO_AF7_USART2;
  HAL_GPIO_Init(GPIOD, &GPIO_InitStruct);

  /*Configure GPIO pins : ARD_D15_Pin ARD_D14_Pin */
  GPIO_InitStruct.Pin = ARD_D15_Pin|ARD_D14_Pin;
  GPIO_InitStruct.Mode = GPIO_MODE_AF_OD;
  GPIO_InitStruct.Pull = GPIO_PULLUP;
  GPIO_InitStruct.Speed = GPIO_SPEED_FREQ_VERY_HIGH;
  GPIO_InitStruct.Alternate = GPIO_AF4_I2C1;
  HAL_GPIO_Init(GPIOB, &GPIO_InitStruct);

  /* EXTI interrupt init*/
  HAL_NVIC_SetPriority(EXTI9_5_IRQn, 0, 0);
  HAL_NVIC_EnableIRQ(EXTI9_5_IRQn);

  HAL_NVIC_SetPriority(EXTI15_10_IRQn, 0, 0);
  HAL_NVIC_EnableIRQ(EXTI15_10_IRQn);

}

void Error_Handler(void)
{
  __disable_irq();
  while (1)
  {
  }
}

/************************ (C) COPYRIGHT STMicroelectronics *****END OF FILE****/
